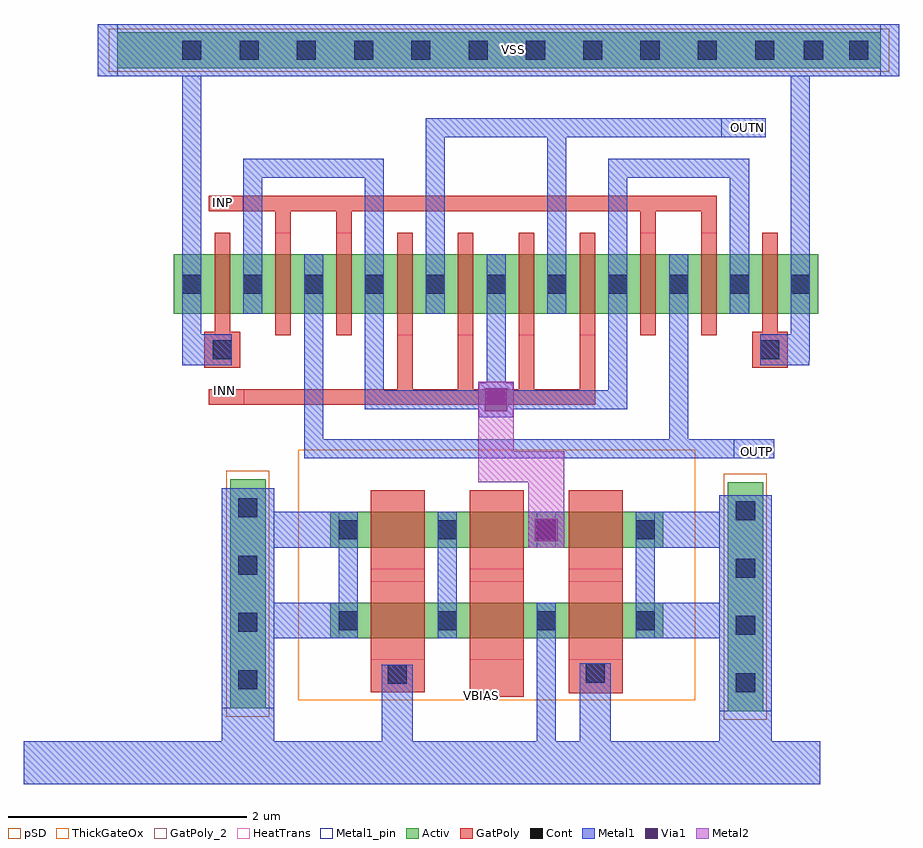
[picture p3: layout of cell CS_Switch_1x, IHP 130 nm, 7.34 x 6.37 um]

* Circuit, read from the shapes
.subckt CS_Switch_1x INN INP OUTN OUTP VBIAS VSS
XM1 n1 VSS VSS VSS sg13_lv_nmos w=0.5u l=0.13u m=2
XM2 OUTP INP n1 VSS sg13_lv_nmos w=0.5u l=0.13u m=4
XM3 n2 VSS VSS VSS sg13_hv_nmos w=0.3u l=0.45u m=2
XM4 OUTN INN n1 VSS sg13_lv_nmos w=0.5u l=0.13u m=4
XM5 VSS VBIAS n2 VSS sg13_hv_nmos w=0.3u l=0.45u
XM6 n1 VBIAS n2 VSS sg13_hv_nmos w=0.3u l=0.45u
XM7 VSS VSS VSS VSS sg13_hv_nmos w=0.3u l=0.45u
XM8 VSS VSS n1 VSS sg13_hv_nmos w=0.3u l=0.45u
.ends

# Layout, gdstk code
import gdstk
lib = gdstk.Library(unit=1e-6, precision=1e-09)
def R(c, l, rs):  # rectangles x0, y0, x1, y1
    for r in rs: c.add(gdstk.rectangle(r[:2], r[2:], *l))
def A(c, l, x, y, w, h, nx, ny, dx, dy):  # array of equal rectangles
    R(c, l, [(x+i*dx, y+j*dy, x+i*dx+w, y+j*dy+h) for i in range(nx) for j in range(ny)])
def P(c, l, *ps):  # polygons
    for p in ps: c.add(gdstk.Polygon(p, *l))
Activ = (1, 0)
GatPoly = (5, 0)
GatPoly_2 = (5, 2)
Cont = (6, 0)
Metal1 = (8, 0)
Metal1_pin = (8, 2)
Metal2 = (10, 0)
pSD = (14, 0)
Via1 = (19, 0)
ThickGateOx = (44, 0)
HeatTrans = (51, 0)

nmoshv_1 = lib.new_cell('nmosHV$1')
R(nmoshv_1, Activ, [(0,0,1.13,0.3), (0,0,0.3,0.3), (0.83,0,1.13,0.3)])
R(nmoshv_1, GatPoly, [(0.34,-0.18,0.79,0.48)])
R(nmoshv_1, GatPoly_2, [(0.34,-0.18,0.79,0.48)])
R(nmoshv_1, Cont, [(0.07,0.07,0.23,0.23), (0.9,0.07,1.06,0.23)])
R(nmoshv_1, Metal1, [(0.07,0,0.23,0.3), (0.9,0,1.06,0.3)])
R(nmoshv_1, Metal1_pin, [(0.07,0,0.23,0.3), (0.9,0,1.06,0.3)])
R(nmoshv_1, ThickGateOx, [(-0.27,-0.52,1.4,0.82)])
R(nmoshv_1, HeatTrans, [(0.34,-0.18,0.79,0.48)])
nmoshv_1.add(gdstk.Label('nmosHV', (0.565,0.15), layer=63, texttype=0))
nmoshv_1.add(gdstk.Label('nmosHV', (0.565,0.15), layer=51, texttype=0))

via_stack_1 = lib.new_cell('via_stack$1')
R(via_stack_1, Metal1, [(-0.145,-0.145,0.145,0.145)])
R(via_stack_1, Metal2, [(-0.145,-0.145,0.145,0.145)])
R(via_stack_1, Via1, [(-0.095,-0.095,0.095,0.095)])

nmos = lib.new_cell('nmos')
A(nmos, Activ, 0, 0, 0.3, 0.3, 3, 1, 0.51, 0)
R(nmos, Activ, [(0,0,1.32,0.5)])
R(nmos, GatPoly, [(0.34,-0.18,0.47,0.68), (0.85,-0.18,0.98,0.68)])
R(nmos, GatPoly_2, [(0.34,-0.18,0.47,0.68)])
A(nmos, Cont, 0.07, 0.17, 0.16, 0.16, 3, 1, 0.51, 0)
A(nmos, Metal1, 0.07, 0, 0.16, 0.5, 3, 1, 0.51, 0)
R(nmos, Metal1_pin, [(0.07,0,0.23,0.5), (0.58,0,0.74,0.5)])
R(nmos, HeatTrans, [(0.34,-0.18,0.47,0.68), (0.85,-0.18,0.98,0.68)])
nmos.add(gdstk.Label('nmos', (0.405,0.25), layer=63, texttype=0))
nmos.add(gdstk.Label('nmos', (0.915,0.25), layer=51, texttype=0))
nmos.add(gdstk.Label('nmos', (0.405,0.25), layer=51, texttype=0))

nmoshv = lib.new_cell('nmosHV')
R(nmoshv, Activ, [(0,0,1.13,0.3), (0,0,0.3,0.3), (0.83,0,1.13,0.3)])
R(nmoshv, GatPoly, [(0.34,-0.18,0.79,0.48)])
R(nmoshv, GatPoly_2, [(0.34,-0.18,0.79,0.48)])
R(nmoshv, Cont, [(0.07,0.07,0.23,0.23), (0.9,0.07,1.06,0.23)])
R(nmoshv, Metal1, [(0.07,0,0.23,0.3), (0.9,0,1.06,0.3)])
R(nmoshv, Metal1_pin, [(0.07,0,0.23,0.3), (0.9,0,1.06,0.3)])
R(nmoshv, ThickGateOx, [(-0.27,-0.52,1.4,0.82)])
R(nmoshv, HeatTrans, [(0.34,-0.18,0.79,0.48)])
nmoshv.add(gdstk.Label('nmosHV', (0.565,0.15), layer=63, texttype=0))
nmoshv.add(gdstk.Label('nmosHV', (0.565,0.15), layer=51, texttype=0))

nmos_3 = lib.new_cell('nmos$3')
R(nmos_3, Activ, [(0,0,0.81,0.5), (0,0,0.3,0.3), (0.51,0,0.81,0.3)])
R(nmos_3, GatPoly, [(0.34,-0.18,0.47,0.68)])
R(nmos_3, GatPoly_2, [(0.34,-0.18,0.47,0.68)])
R(nmos_3, Cont, [(0.07,0.17,0.23,0.33), (0.58,0.17,0.74,0.33)])
R(nmos_3, Metal1, [(0.07,0,0.23,0.5), (0.58,0,0.74,0.5)])
R(nmos_3, Metal1_pin, [(0.07,0,0.23,0.5), (0.58,0,0.74,0.5)])
R(nmos_3, HeatTrans, [(0.34,-0.18,0.47,0.68)])
nmos_3.add(gdstk.Label('nmos', (0.405,0.25), layer=63, texttype=0))
nmos_3.add(gdstk.Label('nmos', (0.405,0.25), layer=51, texttype=0))

cs_switch_1x = lib.new_cell('CS_Switch_1x')
R(cs_switch_1x, Activ, [(1.58,-2.68,1.88,-0.76), (-2.59,-2.655,-2.29,-0.735), (-3.535,2.71,2.865,3.01)])
A(cs_switch_1x, GatPoly, -1.19, 0.02, 0.13, 0.45, 4, 1, 0.51, 0)
R(cs_switch_1x, GatPoly, [(-0.58,-2.56,-0.13,-0.83), (0.25,-2.53,0.7,-0.85), (-1.41,-2.52,-0.96,-0.83), (-2.77,-0.11,0.47,0.02), (-2.805,0.2,-2.505,0.5), (1.785,0.2,2.085,0.5), (-2.21,1.33,-2.08,1.64), (-1.7,1.33,-1.57,1.64), (0.85,1.33,0.98,1.64), (1.36,1.33,1.49,1.64), (-2.77,1.51,0.849,1.64), (0.849,1.51,1.49,1.64)])
R(cs_switch_1x, GatPoly_2, [(-0.58,-2.56,-0.13,-2.25), (-2.769,-0.11,-2.47,0.02), (-2.77,1.51,-2.481,1.64)])
R(cs_switch_1x, Cont, [(1.65,-2.52,1.81,-2.36), (1.65,-2.52,1.81,-2.36), (-2.52,-2.495,-2.36,-2.335), (-2.52,-2.495,-2.36,-2.335), (-1.27,-2.45,-1.11,-2.29), (0.39,-2.44,0.55,-2.28), (1.65,-2.04,1.81,-1.88), (1.65,-2.04,1.81,-1.88), (-2.52,-2.015,-2.36,-1.855), (-2.52,-2.015,-2.36,-1.855), (1.65,-1.56,1.81,-1.4), (1.65,-1.56,1.81,-1.4), (-2.52,-1.535,-2.36,-1.375), (-2.52,-1.535,-2.36,-1.375), (1.65,-1.08,1.81,-0.92), (1.65,-1.08,1.81,-0.92), (-2.52,-1.055,-2.36,-0.895), (-2.52,-1.055,-2.36,-0.895), (-2.735,0.27,-2.575,0.43), (1.855,0.27,2.015,0.43), (-2.99,2.78,-2.83,2.94), (-2.99,2.78,-2.83,2.94), (-2.51,2.78,-2.35,2.94), (-2.51,2.78,-2.35,2.94), (-2.03,2.78,-1.87,2.94), (-2.03,2.78,-1.87,2.94), (-1.55,2.78,-1.39,2.94), (-1.55,2.78,-1.39,2.94), (-1.07,2.78,-0.91,2.94), (-1.07,2.78,-0.91,2.94), (-0.59,2.78,-0.43,2.94), (-0.59,2.78,-0.43,2.94), (-0.11,2.78,0.05,2.94), (-0.11,2.78,0.05,2.94), (0.37,2.78,0.53,2.94), (0.37,2.78,0.53,2.94), (0.85,2.78,1.01,2.94), (0.85,2.78,1.01,2.94), (1.33,2.78,1.49,2.94), (1.33,2.78,1.49,2.94), (1.81,2.78,1.97,2.94), (1.81,2.78,1.97,2.94), (2.22,2.78,2.38,2.94), (2.22,2.78,2.38,2.94), (2.6,2.78,2.76,2.94), (2.6,2.78,2.76,2.94)])
P(cs_switch_1x, Cont, [(0.499,-2.35),(0.499,-2.35),(0.499,-2.35),(0.499,-2.35)])
A(cs_switch_1x, Metal1, -1.46, 0.01, 0.16, 0.64, 3, 1, 1.02, 0)
R(cs_switch_1x, Metal1, [(-4.32,-3.29,2.355,-2.93), (-2.66,-3.29,-2.22,-0.81), (-1.32,-3.29,-1.06,-2.29), (-0.02,-3.29,0.14,-1.77), (0.34,-3.29,0.6,-2.28), (1.51,-3.29,1.95,-0.87), (-2.421,-2.07,-1.52,-1.77), (-1.68,-2.07,-1.52,-1.01), (0.81,-2.07,1.95,-1.77), (0.81,-2.07,0.97,-1.01), (-0.85,-1.97,-0.69,-1.01), (0.81,-1.97,0.97,-1.01), (-2.421,-1.31,-1.52,-1.01), (-0.09,-1.31,0.21,-1.01), (0.81,-1.31,1.95,-1.01), (-1.97,-0.56,1.97,-0.4), (-1.97,-0.4,-1.81,0.65), (1.09,-0.4,1.25,0.65), (-1.46,-0.15,0.74,0.01), (-2.99,0.22,-2.575,0.48), (1.855,0.22,2.265,0.48), (2.11,0.26,2.27,0.65), (-2.99,0.3,-2.83,0.65), (-2.99,1.15,-2.83,3.08), (-2.48,1.15,-2.32,1.79), (-1.46,1.15,-1.3,1.79), (-0.95,1.15,-0.79,2.13), (0.07,1.15,0.23,2.13), (0.58,1.15,0.74,1.79), (1.6,1.15,1.76,1.79), (2.11,1.15,2.27,3.08), (-2.48,1.79,-1.3,1.95), (0.58,1.79,1.76,1.95), (-0.95,2.13,1.9,2.29), (-3.7,2.64,3.02,3.08)])
R(cs_switch_1x, Metal1_pin, [(1.51,-2.68,1.95,-0.87), (-2.66,-2.655,-2.22,-0.81), (1.63,-0.56,1.97,-0.4), (1.529,2.13,1.899,2.29), (-3.535,2.64,2.865,3.08)])
R(cs_switch_1x, Metal2, [(-0.09,-1.31,0.21,-0.76), (-0.51,-0.76,-0.21,0.08), (-0.51,-0.76,0.21,-0.5)])
R(cs_switch_1x, pSD, [(1.55,-2.75,1.91,-0.69), (-2.62,-2.725,-2.26,-0.665), (-3.605,2.68,2.935,3.04)])
R(cs_switch_1x, Via1, [(-0.035,-1.255,0.155,-1.065)])
cs_switch_1x.add(gdstk.Reference(nmoshv_1, (-0.92,-2.07)))
cs_switch_1x.add(gdstk.Reference(via_stack_1, (-0.36,-0.07)))
cs_switch_1x.add(gdstk.Reference(nmoshv_1, (-0.92,-1.31)))
cs_switch_1x.add(gdstk.Reference(nmos, (-0.51,1.15), x_reflection=True))
cs_switch_1x.add(gdstk.Reference(nmos, (-1.53,1.15), x_reflection=True))
cs_switch_1x.add(gdstk.Reference(nmos, (0.51,1.15), x_reflection=True))
cs_switch_1x.add(gdstk.Reference(nmos, (-2.55,1.15), x_reflection=True))
cs_switch_1x.add(gdstk.Reference(nmoshv, (-1.75,-2.07)))
cs_switch_1x.add(gdstk.Reference(nmoshv, (-1.75,-1.31)))
cs_switch_1x.add(gdstk.Reference(nmoshv, (-0.09,-2.07)))
cs_switch_1x.add(gdstk.Reference(nmoshv, (-0.09,-1.31)))
cs_switch_1x.add(gdstk.Reference(nmos_3, (-3.06,0.65)))
cs_switch_1x.add(gdstk.Reference(nmos_3, (1.53,0.65)))
cs_switch_1x.add(gdstk.Label('OUTN', (1.749,2.21), layer=8, texttype=25))
cs_switch_1x.add(gdstk.Label('OUTP', (1.819,-0.5), layer=8, texttype=25))
cs_switch_1x.add(gdstk.Label('VSS', (-0.211,2.87), layer=8, texttype=25))
cs_switch_1x.add(gdstk.Label('VBIAS', (-0.48,-2.55), layer=5, texttype=1))
cs_switch_1x.add(gdstk.Label('INP', (-2.651,1.58), layer=5, texttype=1))
cs_switch_1x.add(gdstk.Label('INN', (-2.64,0.005), layer=5, texttype=1))

lib.write_gds('CS_Switch_1x.gds')
